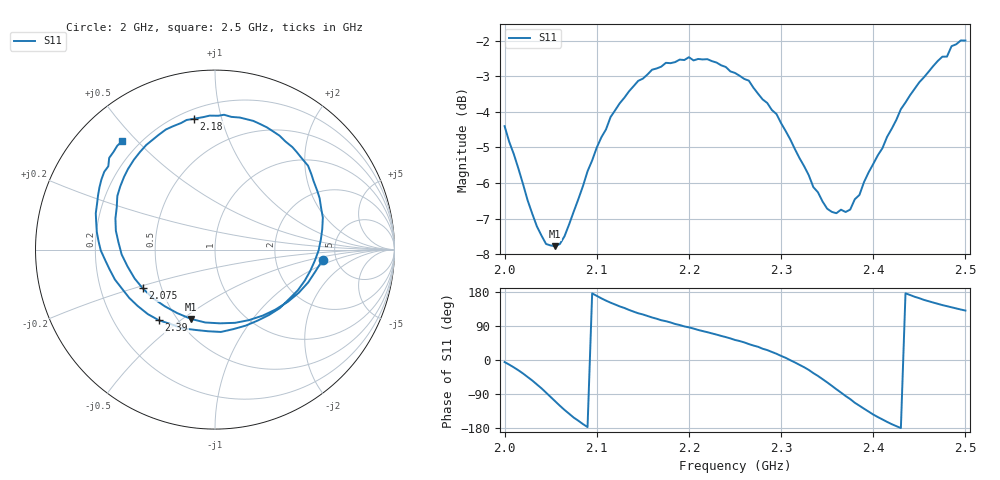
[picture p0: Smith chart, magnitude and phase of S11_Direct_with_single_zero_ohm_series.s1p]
# HZ S RI R 50
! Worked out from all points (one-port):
!   101 points, 2 GHz to 2.5 GHz, reference 50 ohm
!   lowest |S11| = -7.8 dB at 2.055 GHz (marker M1), VSWR 2.38, Z = 29 - j26.9 ohm
!   |S11| at or under -10 dB: nowhere
!   S11 on the Smith chart (normalised r, x): 2 GHz: 3.90, -0.70; 2.075 GHz: 0.39, -0.21; 2.18 GHz: 0.26, +0.82; 2.39 GHz: 0.40, -0.42; 2.5 GHz: 0.14, +0.45
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2e9  0.5997 -0.0575
2.015e9  0.467 -0.2402
2.03e9  0.2662 -0.3677
2.04e9  0.1118 -0.408
2.055e9  -0.1346 -0.386
2.065e9  -0.2808 -0.3152
2.075e9  -0.4036 -0.2147
2.09e9  -0.5201 -0.0272
2.1e9  -0.5523 0.105
2.125e9  -0.5065 0.4056
2.145e9  -0.3831 0.5829
2.16e9  -0.2738 0.6692
2.18e9  -0.117 0.7291
2.19e9  -0.0297 0.7464
2.22e9  0.2139 0.7169
2.25e9  0.4318 0.5705
2.285e9  0.5828 0.2863
2.3e9  0.5975 0.1141
2.315e9  0.5559 -0.0625
2.33e9  0.4618 -0.2265
2.345e9  0.3007 -0.3643
2.365e9  0.0327 -0.4588
2.375e9  -0.1044 -0.4481
2.39e9  -0.3129 -0.3937
2.415e9  -0.5574 -0.1673
2.44e9  -0.6586 0.0986
2.47e9  -0.6329 0.3905
2.5e9  -0.5155 0.6045
